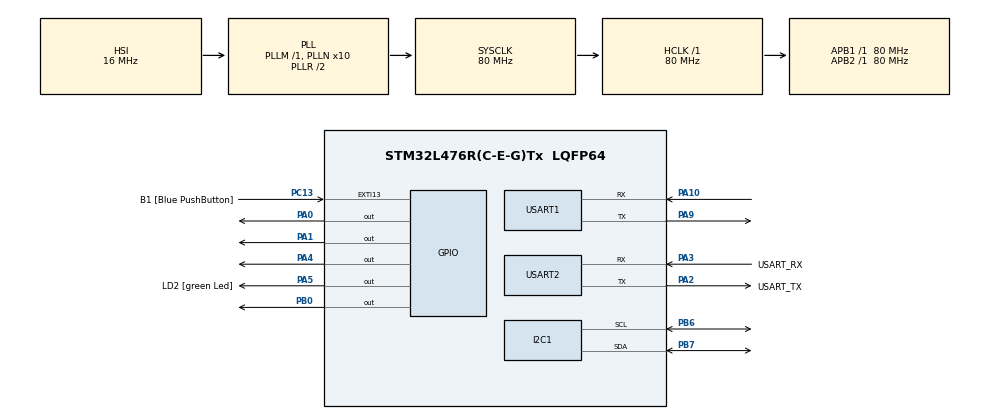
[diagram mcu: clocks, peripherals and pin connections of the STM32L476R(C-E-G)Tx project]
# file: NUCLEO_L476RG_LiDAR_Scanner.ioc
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I2C1.Timing=0x10D19CE4
Mcu.Family=STM32L4
Mcu.Name=STM32L476R(C-E-G)Tx
Mcu.Package=LQFP64
NVIC.PriorityGroup=NVIC_PRIORITYGROUP_4
PA0.Signal=GPIO_Output
PA1.Signal=GPIO_Output
PA10.Mode=Asynchronous
PA10.Signal=USART1_RX
PA13\ (JTMS-SWDIO).GPIO_Label=TMS
PA13\ (JTMS-SWDIO).Mode=Serial_Wire
PA13\ (JTMS-SWDIO).Signal=SYS_JTMS-SWDIO
PA14\ (JTCK-SWCLK).GPIO_Label=TCK
PA14\ (JTCK-SWCLK).Mode=Serial_Wire
PA14\ (JTCK-SWCLK).Signal=SYS_JTCK-SWCLK
PA2.GPIO_Label=USART_TX
PA2.GPIO_Mode=GPIO_MODE_AF_PP
PA2.GPIO_PuPd=GPIO_NOPULL
PA2.GPIO_Speed=GPIO_SPEED_FREQ_VERY_HIGH
PA2.Mode=Asynchronous
PA2.Signal=USART2_TX
PA3.GPIO_Label=USART_RX
PA3.GPIO_Mode=GPIO_MODE_AF_PP
PA3.GPIO_PuPd=GPIO_NOPULL
PA3.GPIO_Speed=GPIO_SPEED_FREQ_VERY_HIGH
PA3.Mode=Asynchronous
PA3.Signal=USART2_RX
PA4.Signal=GPIO_Output
PA5.GPIO_Label=LD2 [green Led]
PA5.GPIO_ModeDefaultOutputPP=GPIO_MODE_OUTPUT_PP
PA5.GPIO_PuPd=GPIO_NOPULL
PA5.GPIO_Speed=GPIO_SPEED_FREQ_LOW
PA5.Signal=GPIO_Output
PA9.Mode=Asynchronous
PA9.Signal=USART1_TX
PB0.Signal=GPIO_Output
PB3\ (JTDO-TRACESWO).GPIO_Label=SWO
PB3\ (JTDO-TRACESWO).Signal=SYS_JTDO-SWO
PB6.Mode=I2C
PB6.Signal=I2C1_SCL
PB7.Mode=I2C
PB7.Signal=I2C1_SDA
PC13.GPIO_Label=B1 [Blue PushButton]
PC13.GPIO_ModeDefaultEXTI=GPIO_MODE_IT_FALLING
PC13.GPIO_PuPd=GPIO_NOPULL
PC13.Signal=GPXTI13
PC14-OSC32_IN\ (PC14).Mode=LSE-External-Oscillator
PC14-OSC32_IN\ (PC14).Signal=RCC_OSC32_IN
PC15-OSC32_OUT\ (PC15).Mode=LSE-External-Oscillator
PC15-OSC32_OUT\ (PC15).Signal=RCC_OSC32_OUT
PH0-OSC_IN\ (PH0).Signal=RCC_OSC_IN
PH1-OSC_OUT\ (PH1).Signal=RCC_OSC_OUT
ProjectManager.HeapSize=0x200
ProjectManager.StackSize=0x400
ProjectManager.TargetToolchain=STM32CubeIDE
RCC.ADCFreq_Value=64000000
RCC.AHBFreq_Value=80000000
RCC.APB1Freq_Value=80000000
RCC.APB1TimFreq_Value=80000000
RCC.APB2Freq_Value=80000000
RCC.APB2TimFreq_Value=80000000
RCC.CortexFreq_Value=80000000
RCC.HCLKFreq_Value=80000000
RCC.HSE_VALUE=8000000
RCC.HSI_VALUE=16000000
RCC.MSI_VALUE=4000000
RCC.PLLN=10
RCC.PLLSourceVirtual=RCC_PLLSOURCE_HSI
RCC.PREFETCH_ENABLE=1
RCC.SYSCLKFreq_VALUE=80000000
RCC.SYSCLKSource=RCC_SYSCLKSOURCE_PLLCLK
RCC.USBFreq_Value=64000000
RCC.VCOOutputFreq_Value=160000000
USART1.VirtualMode-Asynchronous=VM_ASYNC
USART2.VirtualMode-Asynchronous=VM_ASYNC
board=NUCLEO-L476RG

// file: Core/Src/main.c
/* USER CODE BEGIN Header */
/**
  ******************************************************************************
  * @file           : main.c
  * @brief          : Main program body
  ******************************************************************************
  * @attention
  *
  * Copyright (c) 2026 STMicroelectronics.
  * All rights reserved.
  *
  * This software is licensed under terms that can be found in the LICENSE file
  * in the root directory of this software component.
  * If no LICENSE file comes with this software, it is provided AS-IS.
  *
  ******************************************************************************
  */
/* USER CODE END Header */
#include "main.h"
#include "ssd1306.h"
#include "ssd1306_fonts.h"
#include <stdio.h>
#include <string.h>

I2C_HandleTypeDef hi2c1;

UART_HandleTypeDef huart1;
UART_HandleTypeDef huart2;

void SystemClock_Config(void);
static void MX_GPIO_Init(void);
static void MX_USART1_UART_Init(void);
static void MX_USART2_UART_Init(void);
static void MX_I2C1_Init(void);

int main(void)
{

  /* MCU Configuration--------------------------------------------------------*/

  /* Reset of all peripherals, Initializes the Flash interface and the Systick. */
  HAL_Init();

  /* Configure the system clock */
  SystemClock_Config();

  /* Initialize all configured peripherals */
  MX_GPIO_Init();
  MX_USART1_UART_Init();
  MX_USART2_UART_Init();
  MX_I2C1_Init();
  /* USER CODE BEGIN 2 */

  // Init display
  ssd1306_Init();

  // Clear screen
  ssd1306_Fill(Black);

  ssd1306_SetCursor(0,0);
  ssd1306_WriteString("SCANNER", Font_11x18, White);

  ssd1306_SetCursor(0,24);
  ssd1306_WriteString("READY...", Font_11x18, White);

  // Update Screen
  ssd1306_UpdateScreen();
  HAL_Delay(2000);
  ssd1306_Fill(Black);

  const uint8_t stepSeq[8][4]= {
		  {1,0,0,0},
		  {1,1,0,0},
		  {0,1,0,0},
		  {0,1,1,0},
		  {0,0,1,0},
		  {0,0,1,1},
		  {0,0,0,1},
		  {1,0,0,1}
  };

  int StepIndex = 0;		//current position in step seq
  int StepCount = 0;		//total steps taken this sweep
  float angle = 0.0f;		//current angle in degrees
  uint32_t lastStepTime = 0;  // timestamp of last motor step
  const uint32_t STEP_INTERVAL = 3;        // ms between steps
  const int STEPS_PER_REV     = 14155;      // 28BYJ-48 full revolution is 4096 (11796 is calculated after gear ratio is considered

  // Rolling average buffer
  uint16_t distBuf[5] = {0};
  uint8_t  bufIdx = 0;
  uint8_t  bufFull = 0;
  static uint16_t lastValidDist = 0;
  static uint8_t hasValidReading = 0;
  uint16_t avgDist = 0;

  /* USER CODE END 2 */

  /* Infinite loop */
  while (1)
  {

    /* USER CODE BEGIN 3 */

	  uint32_t now = HAL_GetTick();
	  int IsValid = 0;
	  int DidStep = 0;
	  /* Motor Control Start */
	  if( now - lastStepTime >= STEP_INTERVAL ){
		  lastStepTime = now;

		  // Current Step Seq
		  HAL_GPIO_WritePin(GPIOA, GPIO_PIN_0, stepSeq[StepIndex][0]);
		  HAL_GPIO_WritePin(GPIOA, GPIO_PIN_1, stepSeq[StepIndex][1]);
		  HAL_GPIO_WritePin(GPIOA, GPIO_PIN_4, stepSeq[StepIndex][2]);
		  HAL_GPIO_WritePin(GPIOB, GPIO_PIN_0, stepSeq[StepIndex][3]);

		  //Advancing Step Index
		  StepIndex = (StepIndex + 1 ) % 8;
		  StepCount ++;

		  //Calc Angle
		  angle = (StepCount % STEPS_PER_REV) * 360.0f / STEPS_PER_REV;
		  DidStep = 1;

//		  static uint8_t sensorSkip = 0;
//		  sensorSkip++;
//		  if (sensorSkip < 4) goto transmit;  // only read sensor every 4th step
//		  sensorSkip = 0;

		  //check sweep complete
		  if (StepCount % STEPS_PER_REV == 0){
		     HAL_UART_Transmit(&huart2, (uint8_t*)"A360\r\n", 6, 10);
		  }
	  }
	  if (!DidStep) continue;
	  if (StepCount % 8 != 0) goto skip;
	  /* Motor Control End */

	  /* Sensor READ Start */
	  //flush stale bytes
	  if (StepCount % 8 == 0){

	  uint8_t flush;
	  while (HAL_UART_Receive(&huart1, &flush, 1, 0) == HAL_OK) {} // drain buffer

	  uint8_t byte;

	  // hunt for first 0xx59
	  uint8_t found = 0;
	  for (int attempt =0; attempt < 5; attempt ++){
		  if (HAL_UART_Receive(&huart1,&byte,1,2) == HAL_OK && byte ==0x59){
			  found = 1;
			  break;
		  }

	  }

	  if (!found) goto transmit;

	  // Second 0x59
	  if (HAL_UART_Receive(&huart1, &byte, 1, 2) != HAL_OK) goto transmit;
	  if (byte != 0x59) goto transmit;

	  uint8_t frame[9];
	  frame[0]=0x59;
	  frame[1]=0x59;

	  if (HAL_UART_Receive(&huart1,&frame[2],7,5) != HAL_OK) goto transmit;

	  //checksum
	  uint8_t checksum = 0;
	  for (int i = 0; i < 8; i++) checksum += frame[i];
	  if (checksum != frame[8]) goto transmit;

	  uint16_t dst_cm = frame[2] + (frame[3] << 8);
	  uint16_t strength = frame[4] + (frame[5] << 8);

	  //valid signal check
	  if(strength < 100 || strength >= 65535 || dst_cm >= 65535) goto transmit;

	  //Rolling avg
	  distBuf[bufIdx] = dst_cm;
	  bufIdx = (bufIdx + 1) % 5;
	  if (bufIdx == 0) bufFull = 1;

	  uint32_t sum = 0;
	  uint8_t count = bufFull ? 5 : bufIdx;
	  for (int i = 0; i < count; i++) sum += distBuf[i];
	  avgDist = sum / count;

	  //turn on valid signal
	  IsValid = 1;

transmit:
      char msg[32];
	  if (IsValid){
		  sprintf(msg, "A%03d,%d\r\n", (int)angle, avgDist);
		  lastValidDist = avgDist;
		  hasValidReading = 1;
	  }
	  else {
		  sprintf(msg, "A%03d,0\r\n", (int)angle);
		  hasValidReading = 0;
	  }
	  HAL_UART_Transmit(&huart2, (uint8_t*)msg, strlen(msg), 10);

	  //Update OLED
	  static uint8_t oledCount = 0;
	  oledCount++;
	  if (oledCount >= 20){
		  oledCount = 0;
		  char line1[16], line2[16];

		  ssd1306_Fill(Black);
		  ssd1306_SetCursor(0,0);
		  ssd1306_WriteString ("SCANNING",Font_7x10, White);
		  ssd1306_SetCursor(0,24);
		  sprintf(line1, "Ang: %3d",(int)angle);
		  ssd1306_WriteString (line1,Font_7x10, White);
		  if (hasValidReading){
			  ssd1306_SetCursor(0,38);
			  sprintf(line2, "Dst: %4dcm",lastValidDist);
			  ssd1306_WriteString (line2,Font_7x10, White);
		  }
		  else {
			  ssd1306_SetCursor(0,38);
			  ssd1306_WriteString ("No TARGET",Font_7x10, White);
		  }
		  ssd1306_UpdateScreen();
	  }

	  /* Sensor READ End*/
	  }
skip:;
  }
  /* USER CODE END 3 */
}

void SystemClock_Config(void)
{
  RCC_OscInitTypeDef RCC_OscInitStruct = {0};
  RCC_ClkInitTypeDef RCC_ClkInitStruct = {0};

  /** Configure the main internal regulator output voltage
  */
  if (HAL_PWREx_ControlVoltageScaling(PWR_REGULATOR_VOLTAGE_SCALE1) != HAL_OK)
  {
    Error_Handler();
  }

  /** Initializes the RCC Oscillators according to the specified parameters
  * in the RCC_OscInitTypeDef structure.
  */
  RCC_OscInitStruct.OscillatorType = RCC_OSCILLATORTYPE_HSI;
  RCC_OscInitStruct.HSIState = RCC_HSI_ON;
  RCC_OscInitStruct.HSICalibrationValue = RCC_HSICALIBRATION_DEFAULT;
  RCC_OscInitStruct.PLL.PLLState = RCC_PLL_ON;
  RCC_OscInitStruct.PLL.PLLSource = RCC_PLLSOURCE_HSI;
  RCC_OscInitStruct.PLL.PLLM = 1;
  RCC_OscInitStruct.PLL.PLLN = 10;
  RCC_OscInitStruct.PLL.PLLP = RCC_PLLP_DIV7;
  RCC_OscInitStruct.PLL.PLLQ = RCC_PLLQ_DIV2;
  RCC_OscInitStruct.PLL.PLLR = RCC_PLLR_DIV2;
  if (HAL_RCC_OscConfig(&RCC_OscInitStruct) != HAL_OK)
  {
    Error_Handler();
  }

  /** Initializes the CPU, AHB and APB buses clocks
  */
  RCC_ClkInitStruct.ClockType = RCC_CLOCKTYPE_HCLK|RCC_CLOCKTYPE_SYSCLK
                              |RCC_CLOCKTYPE_PCLK1|RCC_CLOCKTYPE_PCLK2;
  RCC_ClkInitStruct.SYSCLKSource = RCC_SYSCLKSOURCE_PLLCLK;
  RCC_ClkInitStruct.AHBCLKDivider = RCC_SYSCLK_DIV1;
  RCC_ClkInitStruct.APB1CLKDivider = RCC_HCLK_DIV1;
  RCC_ClkInitStruct.APB2CLKDivider = RCC_HCLK_DIV1;

  if (HAL_RCC_ClockConfig(&RCC_ClkInitStruct, FLASH_LATENCY_4) != HAL_OK)
  {
    Error_Handler();
  }
}

static void MX_I2C1_Init(void)
{

  hi2c1.Instance = I2C1;
  hi2c1.Init.Timing = 0x10D19CE4;
  hi2c1.Init.OwnAddress1 = 0;
  hi2c1.Init.AddressingMode = I2C_ADDRESSINGMODE_7BIT;
  hi2c1.Init.DualAddressMode = I2C_DUALADDRESS_DISABLE;
  hi2c1.Init.OwnAddress2 = 0;
  hi2c1.Init.OwnAddress2Masks = I2C_OA2_NOMASK;
  hi2c1.Init.GeneralCallMode = I2C_GENERALCALL_DISABLE;
  hi2c1.Init.NoStretchMode = I2C_NOSTRETCH_DISABLE;
  if (HAL_I2C_Init(&hi2c1) != HAL_OK)
  {
    Error_Handler();
  }

  /** Configure Analogue filter
  */
  if (HAL_I2CEx_ConfigAnalogFilter(&hi2c1, I2C_ANALOGFILTER_ENABLE) != HAL_OK)
  {
    Error_Handler();
  }

  /** Configure Digital filter
  */
  if (HAL_I2CEx_ConfigDigitalFilter(&hi2c1, 0) != HAL_OK)
  {
    Error_Handler();
  }

}

static void MX_USART1_UART_Init(void)
{

  huart1.Instance = USART1;
  huart1.Init.BaudRate = 115200;
  huart1.Init.WordLength = UART_WORDLENGTH_8B;
  huart1.Init.StopBits = UART_STOPBITS_1;
  huart1.Init.Parity = UART_PARITY_NONE;
  huart1.Init.Mode = UART_MODE_TX_RX;
  huart1.Init.HwFlowCtl = UART_HWCONTROL_NONE;
  huart1.Init.OverSampling = UART_OVERSAMPLING_16;
  huart1.Init.OneBitSampling = UART_ONE_BIT_SAMPLE_DISABLE;
  huart1.AdvancedInit.AdvFeatureInit = UART_ADVFEATURE_NO_INIT;
  if (HAL_UART_Init(&huart1) != HAL_OK)
  {
    Error_Handler();
  }

}

static void MX_USART2_UART_Init(void)
{

  huart2.Instance = USART2;
  huart2.Init.BaudRate = 115200;
  huart2.Init.WordLength = UART_WORDLENGTH_8B;
  huart2.Init.StopBits = UART_STOPBITS_1;
  huart2.Init.Parity = UART_PARITY_NONE;
  huart2.Init.Mode = UART_MODE_TX_RX;
  huart2.Init.HwFlowCtl = UART_HWCONTROL_NONE;
  huart2.Init.OverSampling = UART_OVERSAMPLING_16;
  huart2.Init.OneBitSampling = UART_ONE_BIT_SAMPLE_DISABLE;
  huart2.AdvancedInit.AdvFeatureInit = UART_ADVFEATURE_NO_INIT;
  if (HAL_UART_Init(&huart2) != HAL_OK)
  {
    Error_Handler();
  }

}

static void MX_GPIO_Init(void)
{
  GPIO_InitTypeDef GPIO_InitStruct = {0};

  /* GPIO Ports Clock Enable */
  __HAL_RCC_GPIOC_CLK_ENABLE();
  __HAL_RCC_GPIOH_CLK_ENABLE();
  __HAL_RCC_GPIOA_CLK_ENABLE();
  __HAL_RCC_GPIOB_CLK_ENABLE();

  /*Configure GPIO pin Output Level */
  HAL_GPIO_WritePin(GPIOA, GPIO_PIN_0|GPIO_PIN_1|GPIO_PIN_4|LD2_Pin, GPIO_PIN_RESET);

  /*Configure GPIO pin Output Level */
  HAL_GPIO_WritePin(GPIOB, GPIO_PIN_0, GPIO_PIN_RESET);

  /*Configure GPIO pin : B1_Pin */
  GPIO_InitStruct.Pin = B1_Pin;
  GPIO_InitStruct.Mode = GPIO_MODE_IT_FALLING;
  GPIO_InitStruct.Pull = GPIO_NOPULL;
  HAL_GPIO_Init(B1_GPIO_Port, &GPIO_InitStruct);

  /*Configure GPIO pins : PA0 PA1 PA4 LD2_Pin */
  GPIO_InitStruct.Pin = GPIO_PIN_0|GPIO_PIN_1|GPIO_PIN_4|LD2_Pin;
  GPIO_InitStruct.Mode = GPIO_MODE_OUTPUT_PP;
  GPIO_InitStruct.Pull = GPIO_NOPULL;
  GPIO_InitStruct.Speed = GPIO_SPEED_FREQ_LOW;
  HAL_GPIO_Init(GPIOA, &GPIO_InitStruct);

  /*Configure GPIO pin : PB0 */
  GPIO_InitStruct.Pin = GPIO_PIN_0;
  GPIO_InitStruct.Mode = GPIO_MODE_OUTPUT_PP;
  GPIO_InitStruct.Pull = GPIO_NOPULL;
  GPIO_InitStruct.Speed = GPIO_SPEED_FREQ_LOW;
  HAL_GPIO_Init(GPIOB, &GPIO_InitStruct);

}

void Error_Handler(void)
{
  __disable_irq();
  while (1)
  {
  }
}
